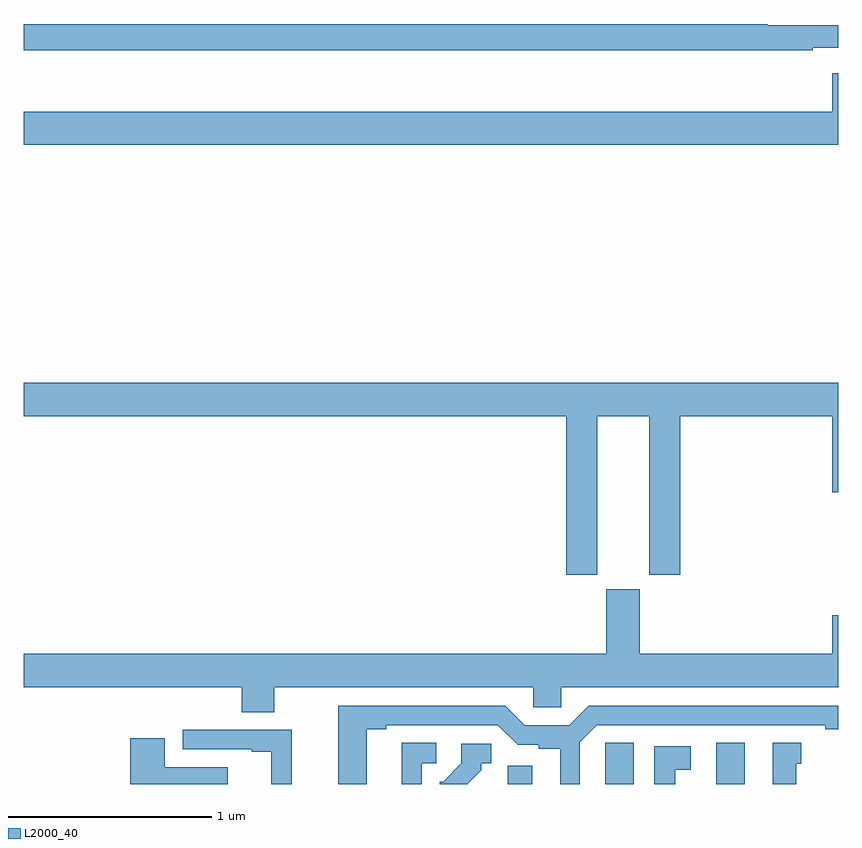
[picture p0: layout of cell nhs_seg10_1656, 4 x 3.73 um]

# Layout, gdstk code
import gdstk
lib = gdstk.Library(unit=1e-6, precision=1e-09)
def R(c, l, rs):  # rectangles x0, y0, x1, y1
    for r in rs: c.add(gdstk.rectangle(r[:2], r[2:], *l))
def P(c, l, *ps):  # polygons
    for p in ps: c.add(gdstk.Polygon(p, *l))
L2000_40 = (2000, 40)

nhs_seg10_1656 = lib.new_cell('nhs_seg10_1656')
R(nhs_seg10_1656, L2000_40, [(199.376,1306.5,199.498,1306.59), (200.402,1306.5,200.542,1306.702)])
P(nhs_seg10_1656, L2000_40, [(200.876,1310.118),(201,1310.118),(201,1310.227),(200.655,1310.227),(200.655,1310.234),(197,1310.234),(197,1310.106),(200.876,1310.106)],
  [(201,1309.993),(200.972,1309.993),(200.972,1309.804),(197,1309.804),(197,1309.64),(201,1309.64)],
  [(197,1308.308),(199.664,1308.308),(199.664,1307.529),(199.816,1307.529),(199.816,1308.308),(200.072,1308.308),(200.072,1307.529),(200.225,1307.529),(200.225,1308.308),(200.972,1308.308),(200.972,1307.934),(201,1307.934),(201,1308.472),(197,1308.472)],
  [(198.231,1306.976),(199.503,1306.976),(199.503,1306.878),(199.641,1306.878),(199.641,1306.976),(201,1306.976),(201,1307.329),(200.972,1307.329),(200.972,1307.14),(200.026,1307.14),(200.026,1307.457),(199.862,1307.457),(199.862,1307.14),(197,1307.14),(197,1306.976),(198.071,1306.976),(198.071,1306.852),(198.231,1306.852)],
  [(198.685,1306.768),(198.781,1306.768),(198.781,1306.788),(199.329,1306.788),(199.425,1306.692),(199.53,1306.692),(199.53,1306.672),(199.634,1306.672),(199.634,1306.5),(199.731,1306.5),(199.731,1306.704),(199.815,1306.788),(200.936,1306.788),(200.936,1306.768),(201,1306.768),(201,1306.884),(199.775,1306.884),(199.679,1306.788),(199.461,1306.788),(199.365,1306.884),(198.545,1306.884),(198.545,1306.5),(198.685,1306.5)],
  [(198.315,1306.767),(197.781,1306.767),(197.781,1306.671),(198.119,1306.671),(198.119,1306.659),(198.215,1306.659),(198.215,1306.5),(198.315,1306.5)],
  [(198.001,1306.582),(197.692,1306.582),(197.692,1306.726),(197.522,1306.726),(197.522,1306.5),(198.001,1306.5)],
  [(198.954,1306.602),(199.027,1306.602),(199.027,1306.703),(198.857,1306.703),(198.857,1306.5),(198.954,1306.5)],
  [(199.996,1306.703),(199.857,1306.703),(199.857,1306.595),(199.856,1306.595),(199.856,1306.5),(199.996,1306.5)],
  [(200.794,1306.599),(200.818,1306.599),(200.818,1306.702),(200.678,1306.702),(200.678,1306.5),(200.794,1306.5)],
  [(199.246,1306.567),(199.246,1306.602),(199.296,1306.602),(199.296,1306.698),(199.149,1306.698),(199.149,1306.602),(199.059,1306.512),(199.044,1306.512),(199.044,1306.5),(199.179,1306.5)],
  [(200.2,1306.57),(200.275,1306.57),(200.275,1306.686),(200.096,1306.686),(200.096,1306.5),(200.2,1306.5)])

lib.write_gds('nhs_seg10_1656.gds')
